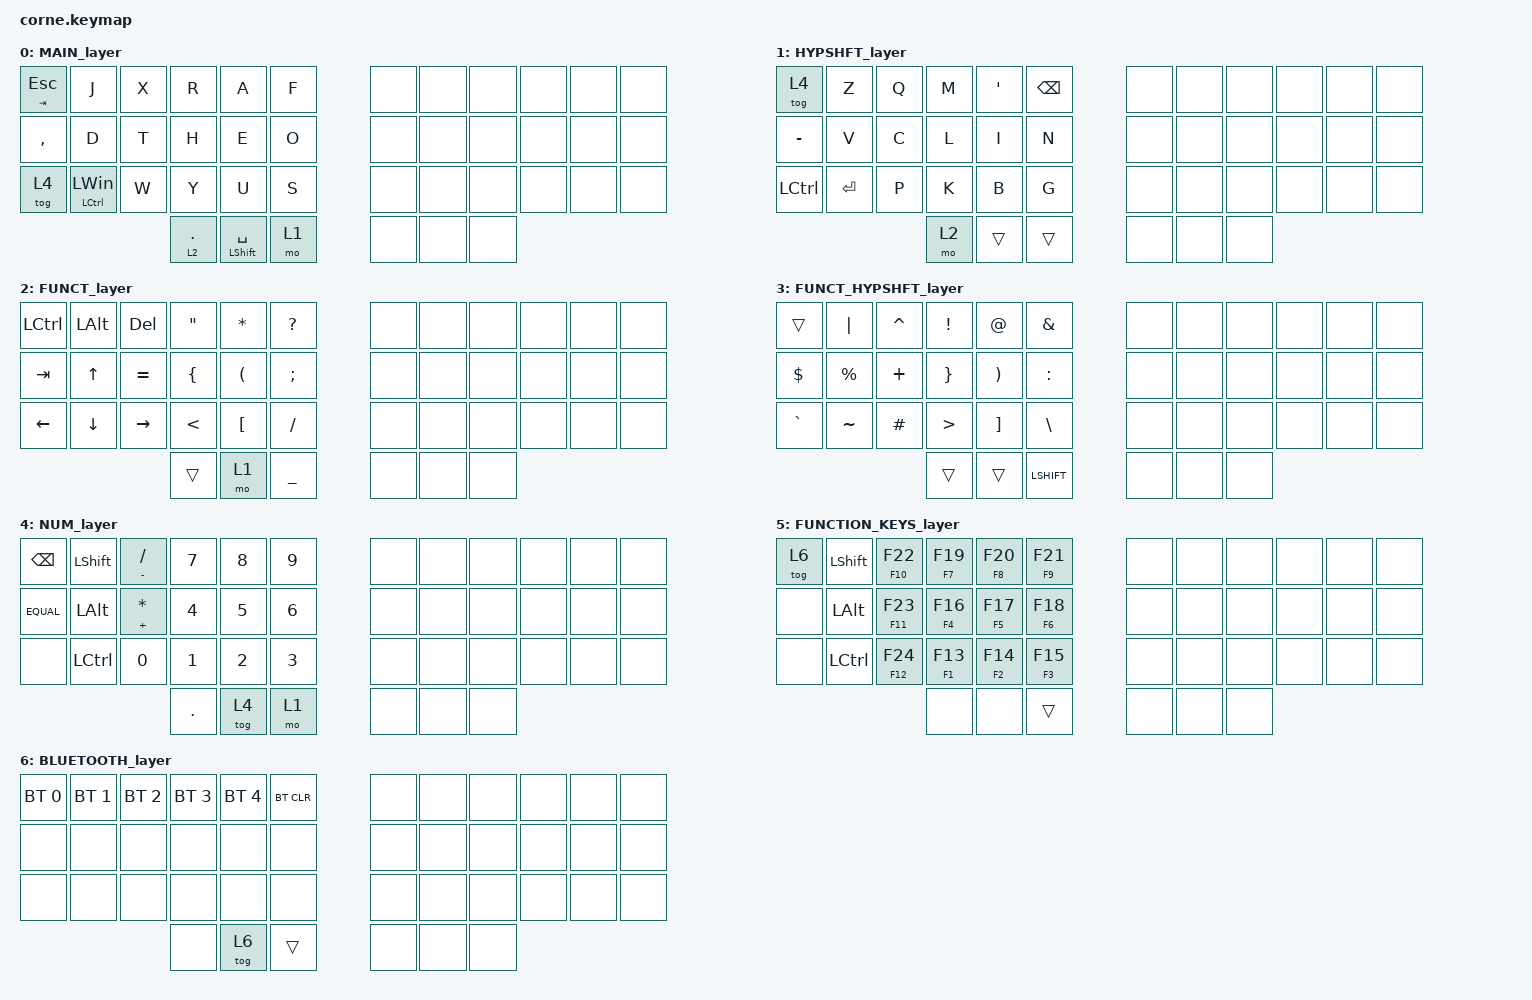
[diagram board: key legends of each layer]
/*
 * Copyright (c) 2020 The ZMK Contributors
 *
 * SPDX-License-Identifier: MIT
 */
#include <behaviors.dtsi>
#include <dt-bindings/zmk/keys.h>
#include <dt-bindings/zmk/bt.h>
&nice_view_spi {
  cs-gpios = <&pro_micro 0 GPIO_ACTIVE_HIGH>;
};
/ { 

  conditional_layers {
        compatible = "zmk,conditional-layers";
        tri_layer {
            if-layers = <1 2>;
            then-layer = <3>;
        };
         quad_layer {
            if-layers = <1 4>;
            then-layer = <5>;
    };
};

    macros {
         ZMK_MACRO(capslkshorthold,
         bindings
                = <&macro_press &kp CAPS>
             // , <&macro_pause_for_release>
                , <&macro_tap_time 300>
                , <&macro_release &kp CAPS>
                ;
                )
           };
     
       
       
       
       
       
       keymap {
                compatible = "zmk,keymap";
                MAIN_layer {
                bindings = <&capslkshorthold>;
// -----------------------------------------------------------------------------------------
// |  ESC,TAB |  J  |  Q  |  D  |  A  |  F  |  
// | CAPSLKMACRO |  Y  |  T  |  H  |  E  |  O  |  
// | CTRL | -,WIN |  G  |  M  |  C  |  L  |  
//             | DOT,FUNCT | SPC,SHFT | HYPSHFT | 
                        bindings = <
   &mt TAB ESC  &kp J &kp X &kp R &kp A &kp F                     &none &none &none &none &none &none
   &kp COMMA &kp D &kp T &kp H &kp E &kp O                    &none &none &none &none &none &none
   &tog 4 &mt LCTRL LEFT_WIN  &kp W &kp Y &kp U &kp S             &none &none &none &none &none &none          
                  &lt 2 DOT &mt LSHIFT SPC &mo 1                &none &none &none
                        >;
                };
                HYPSHFT_layer {
// -----------------------------------------------------------------------------------------
// |   tog4   |  Z  |  X  |  P  |  W  |  BSPC  |   
// |   ,  |  B  |  R  |  I  |  N  |   S  |   
// |      | ENTER |  '  |  V  |  K  |  U  |  
//                    |     |     |     |                
                        bindings = <
   &tog 4 &kp Z &kp Q &kp M &kp SQT &kp BSPC                   &none &none &none &none &none &none
   &kp MINUS &kp V &kp C &kp L &kp I &kp N                    &none &none &none &none &none &none
   &kp LCTRL &kp ENTER &kp P &kp K &kp B &kp G                    &none &none &none &none &none &none
   &mo 2 &trans &trans                                &none &none &none
                   >;
               };
                FUNCT_layer {
// -----------------------------------------------------------------------------------------
// | CTRL |  ALT  |  DEL  |  "  |  *  |  ?  |                             
// | TAB  |  UP   |   =   |  {  |  (  |  ;  |                              
// | LEFT |  DOWN |  RIGHT|  <  |  [  |  /  |                               
//                    |     |  HYPSHFT   |      |  
                        bindings = <
   &kp LCTRL  &kp LALT  &kp DEL  &kp DQT  &kp STAR  &kp QMARK         &none &none &none &none &none &none
   &kp TAB   &kp UP  &kp EQUAL  &kp LBRC  &kp LPAR   &kp SEMI         &none &none &none &none &none &none    
   &kp LEFT  &kp DOWN  &kp RIGHT  &kp LT  &kp LBKT  &kp FSLH          &none &none &none &none &none &none
                 &trans  &mo 1   &kp UNDER                            &none &none &none 
                        >;
                };
                 FUNCT_HYPSHFT_layer {
// -----------------------------------------------------------------------------------------
// |     |   |   |   ^   |  !  |  @  |  &  |   
// |  $   |   %   |   +   |  }  |  )  |  :  |   
// |  `  |   ~   |   #   |  >  |  ]  |  \  |   
//                    |     |            |         |  
                        bindings = <
   &trans   &kp PIPE  &kp CARET   &kp EXCL  &kp AT_SIGN  &kp AMPS       &none &none &none &none &none &none
   &kp DLLR   &kp PRCNT   &kp PLUS  &kp RBRC  &kp RPAR  &kp COLON      &none &none &none &none &none &none 
   &kp GRAVE  &kp TILDE  &kp HASH  &kp GT  &kp RBKT  &kp BACKSLASH        &none &none &none &none &none &none
                 &trans  &trans   &LSHIFT                          &none &none &none 
                        >;
                };
                  NUM_layer {
// -----------------------------------------------------------------------------------------
// |      |       |      |  N7  |  N8  |  N9  |   
// |      |       |      |  N4  |  N5  |  N6  |   
// |      |       |  N0  |  N1  |  N2  |  N3  |   
//                    |     |     |     |  
                        bindings = <
   &kp BSPC &kp LSHIFT &mt MINUS FSLH &kp N7 &kp N8 &kp N9        &none &none &none &none &none &none
   &EQUAL &kp LALT &mt PLUS STAR &kp N4 &kp N5 &kp N6        &none &none &none &none &none &none
   &none &kp LCTRL &kp N0 &kp N1 &kp N2 &kp N3       &none &none &none &none &none &none
                    &kp DOT &tog 4 &mo 1         &none &none &none 
                        >;
                };
                     FUNCTION_KEYS_layer {

                        bindings = <
   &tog 6    &kp LSHIFT    &mt F10 F22     &mt F7 F19      &mt F8 F20      &mt F9 F21        &none &none &none &none &none &none
   &none     &kp LALT      &mt F11 F23     &mt F4 F16      &mt F5 F17      &mt F6 F18         &none &none &none &none &none &none
   &none     &kp LCTRL     &mt F12 F24     &mt F1 F13      &mt F2 F14      &mt F3 F15        &none &none &none &none &none &none
                    &none  &none  &trans                                                  &none &none &none 
                        >;
                };
                     BLUETOOTH_layer {

                        bindings = <
   &bt BT_SEL 0 &bt BT_SEL 1 &bt BT_SEL 2 &bt BT_SEL 3 &bt BT_SEL 4 &bt BT_CLR        &none &none &none &none &none &none
   &none &none  &none  &none  &none  &none                                          &none &none &none &none &none &none
   &none &none &none  &none  &none  &none                                         &none &none &none &none &none &none
                    &none  &tog 6  &trans                                       &none &none &none 
                        >;
                };
        };
};
